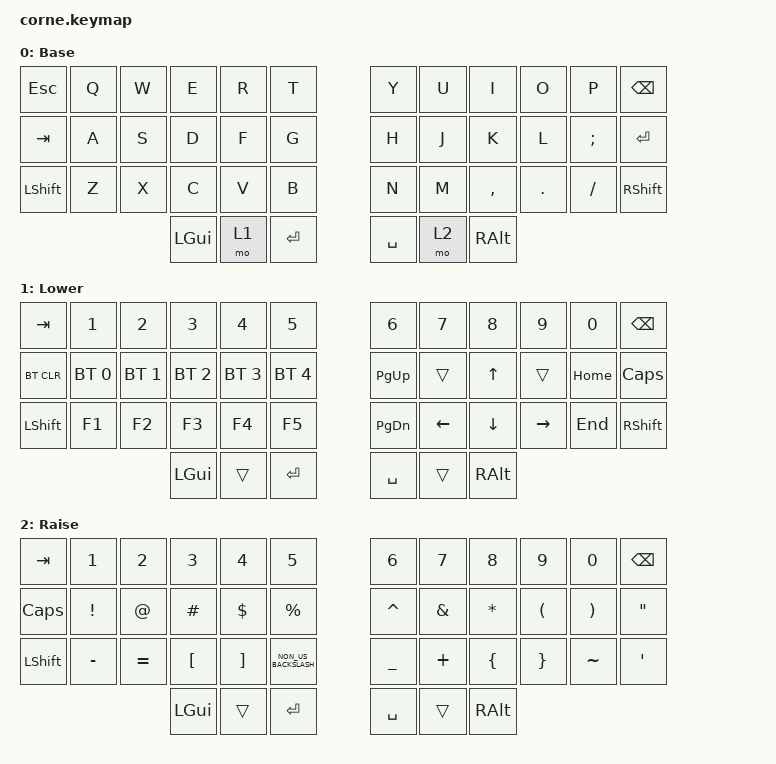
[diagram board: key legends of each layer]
/*
 * Copyright (c) 2020 The ZMK Contributors
 *
 * SPDX-License-Identifier: MIT
 */

#include <behaviors.dtsi>
#include <dt-bindings/zmk/bt.h>
#include <dt-bindings/zmk/keys.h>

/ {
    combos {
        compatible = "zmk,combos";

        CapsLock {
            bindings = <&kp CAPS>;
            key-positions = <24 12>;
        };

        pageup {
            bindings = <&kp PAGE_UP>;
            key-positions = <5 17>;
        };

        pagedown {
            bindings = <&kp PAGE_DOWN>;
            key-positions = <17 29>;
        };

        vol-up {
            bindings = <&kp C_VOLUME_UP>;
            key-positions = <6 18>;
        };

        vol-down {
            bindings = <&kp C_VOLUME_DOWN>;
            key-positions = <18 30>;
        };

        arrow-up {
            bindings = <&kp UP_ARROW>;
            key-positions = <7 8>;
        };

        arrow-down {
            bindings = <&kp DOWN_ARROW>;
            key-positions = <20 19>;
        };

        arrow-left {
            bindings = <&kp LEFT_ARROW>;
            key-positions = <19 18>;
        };

        arrow-right {
            bindings = <&kp RIGHT_ARROW>;
            key-positions = <20 21>;
        };

        LeftAlt {
            bindings = <&kp LALT>;
            key-positions = <26 25>;
        };

        LeftControl {
            bindings = <&kp LEFT_CONTROL>;
            key-positions = <24 25>;
        };
    };

    keymap {
        compatible = "zmk,keymap";

        default_layer {
            // -----------------------------------------------------------------------------------------
            // |  TAB |  Q  |  W  |  E  |  R  |  T  |   |  Y  |  U   |  I  |  O  |  P  | BKSP |
            // | CTRL |  A  |  S  |  D  |  F  |  G  |   |  H  |  J   |  K  |  L  |  ;  |  '   |
            // | SHFT |  Z  |  X  |  C  |  V  |  B  |   |  N  |  M   |  ,  |  .  |  /  | ESC  |
            //                    | GUI | LWR | SPC |   | ENT | RSE  | ALT |

            display-name = "Base";
            bindings = <
&kp ESCAPE  &kp Q  &kp W  &kp E     &kp R  &kp T        &kp Y      &kp U  &kp I      &kp O    &kp P     &kp BSPC
&kp TAB     &kp A  &kp S  &kp D     &kp F  &kp G        &kp H      &kp J  &kp K      &kp L    &kp SEMI  &kp ENTER
&kp LSHFT   &kp Z  &kp X  &kp C     &kp V  &kp B        &kp N      &kp M  &kp COMMA  &kp DOT  &kp FSLH  &kp RIGHT_SHIFT
                          &kp LGUI  &mo 1  &kp ENTER    &kp SPACE  &mo 2  &kp RALT
            >;
        };

        lower_layer {
            // -----------------------------------------------------------------------------------------
            // |  TAB |  1  |  2  |  3  |  4  |  5  |   |  6  |  7  |  8  |  9  |  0  | BKSP |
            // | BTCLR| BT1 | BT2 | BT3 | BT4 | BT5 |   | LFT | DWN |  UP | RGT |     |      |
            // | SHFT |     |     |     |     |     |   |     |     |     |     |     |      |
            //                    | GUI |     | SPC |   | ENT |     | ALT |

            display-name = "Lower";
            bindings = <
&kp TAB     &kp N1        &kp N2        &kp N3        &kp N4        &kp N5          &kp N6         &kp N7    &kp N8          &kp N9     &kp N0    &kp BSPC
&bt BT_CLR  &bt BT_SEL 0  &bt BT_SEL 1  &bt BT_SEL 2  &bt BT_SEL 3  &bt BT_SEL 4    &kp PAGE_UP    &trans    &kp UP          &trans     &kp HOME  &kp CAPS
&kp LSHFT   &kp F1        &kp F2        &kp F3        &kp F4        &kp F5          &kp PAGE_DOWN  &kp LEFT  &kp DOWN_ARROW  &kp RIGHT  &kp END   &kp RIGHT_SHIFT
                                        &kp LGUI      &trans        &kp ENTER       &kp SPACE      &trans    &kp RALT
            >;
        };

        raise_layer {
            // -----------------------------------------------------------------------------------------
            // |  TAB |  !  |  @  |  #  |  $  |  %  |   |  ^  |  &  |  *  |  (  |  )  | BKSP |
            // | CTRL |     |     |     |     |     |   |  -  |  =  |  [  |  ]  |  \  |  `   |
            // | SHFT |     |     |     |     |     |   |  _  |  +  |  {  |  }  | "|" |  ~   |
            //                    | GUI |     | SPC |   | ENT |     | ALT |

            display-name = "Raise";
            bindings = <
&kp TAB       &kp NUMBER_1     &kp NUMBER_2  &kp NUMBER_3      &kp NUMBER_4       &kp NUMBER_5            &kp NUMBER_6  &kp NUMBER_7   &kp NUMBER_8  &kp NUMBER_9          &kp NUMBER_0           &kp BSPC
&kp CAPSLOCK  &kp EXCLAMATION  &kp AT_SIGN   &kp HASH          &kp DOLLAR         &kp PERCENT             &kp CARET     &kp AMPERSAND  &kp ASTERISK  &kp LEFT_PARENTHESIS  &kp RIGHT_PARENTHESIS  &kp DOUBLE_QUOTES
&kp LSHFT     &kp MINUS        &kp EQUAL     &kp LEFT_BRACKET  &kp RIGHT_BRACKET  &kp NON_US_BACKSLASH    &kp UNDER     &kp PLUS       &kp LBRC      &kp RBRC              &kp TILDE              &kp SQT
                                             &kp LGUI          &trans             &kp ENTER               &kp SPACE     &trans         &kp RALT
            >;
        };
    };
};
